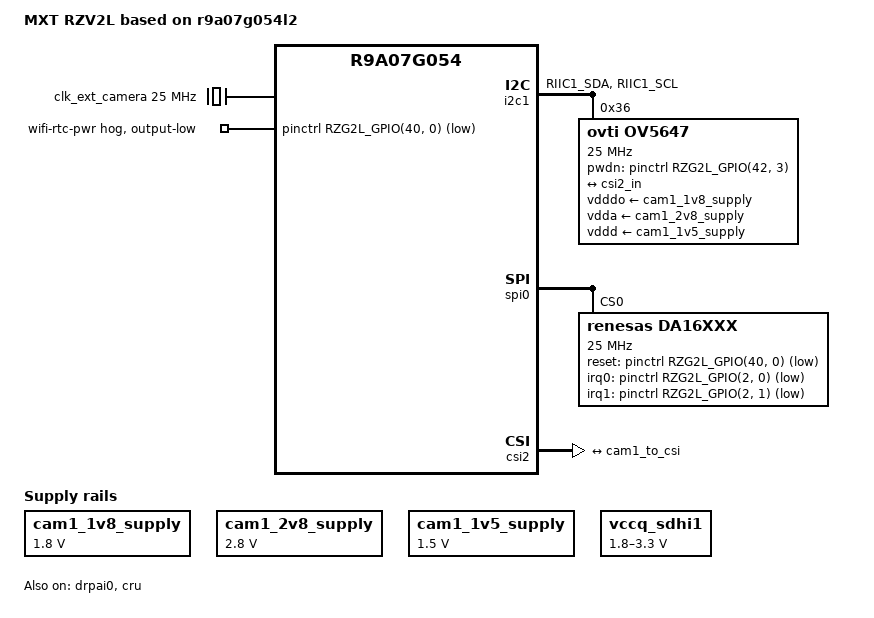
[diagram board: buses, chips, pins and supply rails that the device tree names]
// SPDX-License-Identifier: (GPL-2.0-only OR BSD-2-Clause)
/*
 * Device Tree Source for the RZ/G2L SMARC EVK board
 *
 * Copyright (C) 2021 Renesas Electronics Corp.
 */

/dts-v1/;
#include "r9a07g054l2.dtsi"
#include "rzg2l-smarc-som.dtsi"
#include "rzg2l-smarc-pinfunction.dtsi"
#include "rz-smarc-common.dtsi"
#include "rzg2l-smarc.dtsi"

/ {
	model = "MXT RZV2L based on r9a07g054l2";
	compatible = "renesas,smarc-evk", "renesas,r9a07g054l2", "renesas,r9a07g054";

	reserved-memory {
		#address-cells = <2>;
		#size-cells = <2>;
		ranges;

		/* device specific region for contiguous allocations */
		drp_reserved: DRP-AI {
			reusable;
			reg = <0x0 0x80000000 0x0 0x20000000>;
		};

		image_buf0: image_buf@0 {
			compatible = "shared-dma-pool";
			reusable;
			reg = <0x0 0xB0000000 0x0 0x04000000>;
			label = "image_buf0";
		};

		isp_work0: SIMPLE_ISP {
			reusable;
			reg = <0x0 0xB4000000 0x0 0x03000000>;
		};
	};

	udmabuf@0 {
		compatible = "ikwzm,u-dma-buf";
		device-name = "udmabuf0";
		minor-number = <0>;
		size = <0x4000000>; // 64MiB
		dma-coherent;
		memory-region = <&image_buf0>;
	};

	cam1_1v8_supply: 1p8v {
		compatible = "regulator-fixed";
		regulator-name = "cam1_1v8_supply";
		regulator-min-microvolt = <1800000>;
		regulator-max-microvolt = <1800000>;
		regulator-always-on;
	};

	cam1_2v8_supply: 2p8v {
		compatible = "regulator-fixed";
		regulator-name = "cam1_2v8_supply";
		regulator-min-microvolt = <2800000>;
		regulator-max-microvolt = <2800000>;
		regulator-always-on;
	};

	cam1_1v5_supply: 1p5v {
		compatible = "regulator-fixed";
		regulator-name = "cam1_1v5_supply";
		regulator-min-microvolt = <1500000>;
		regulator-max-microvolt = <1500000>;
		regulator-always-on;
	};

	/delete-node/ sound;
	/delete-node/ sound_card;
	/delete-node/ hdmi-out;
};

&drpai0 {
	memory-region = <&drp_reserved>;
	linux-memory-region = < &{/memory@48000000} >; 
	status = "okay";
};

&adc {
	status = "disabled";
};

&clk_ext_camera {
	compatible = "fixed-clock";
	#clock-cells = <0>;
	clock-frequency = <25000000>;
};

&canfd {
	status = "disabled";
};

&gpt4 {
	status = "disabled";
};

&i2c0 {
	status = "disabled";
	/delete-node/ camera@3c;
};

&i2c1 {
	pinctrl-0 = <&i2c1_pins>;
	pinctrl-names = "default";

	status = "okay";

	ov5647: camera@36 {
		compatible = "ovti,ov5647";
		reg = <0x36>;
		clock-names = "xclk";
		clocks = <&clk_ext_camera>;
		clock-frequency = <25000000>;
		vdddo-supply = <&cam1_1v8_supply>;
		vdda-supply = <&cam1_2v8_supply>;
		vddd-supply = <&cam1_1v5_supply>;
		pwdn-gpios = <&pinctrl RZG2L_GPIO(42, 3) GPIO_ACTIVE_HIGH>;

		port {
			cam1_to_csi: endpoint {
				clock-lanes = <0>;
				data-lanes = <1 2>;
				remote-endpoint = <&csi2_in>;
			};
		};
	};

	adv7535: hdmi@3d {
		status = "disabled";

		ports {
			#address-cells = <1>;
			#size-cells = <0>;

			port@0 {
				/delete-node/ endpoint@0;
			};
			port@1 {
				/delete-node/ endpoint@1;
			};
			port@2 {
				/delete-node/ endpoint@2;
			};
		};
	};
};

&i2c3 {
	status = "disabled";
	/delete-node/ codec@1a;
};

&vccq_sdhi1 {
	compatible = "regulator-gpio";
	regulator-name = "SDHI1 VccQ";
	regulator-min-microvolt = <1800000>;
	regulator-max-microvolt = <3300000>;
	gpios = <&pinctrl RZG2L_GPIO(43, 3) GPIO_ACTIVE_HIGH>;
	gpios-states = <1>;
	states = <3300000 1>, <1800000 0>;
};

&eth0 {
	status = "disabled";
};

&eth1 {
	status = "disabled";
};

&spi0 {
	pinctrl-0 = <&spi0_pins>;
	pinctrl-names = "default";
	dmas = <&dmac 0x2e95>, <&dmac 0x2e96>;
	dma-names = "tx", "rx";

	status = "okay";

	da16xxx@0 {
		compatible = "renesas,da16xxx";
		reg = <0>;
		spi-max-frequency = <25000000>;
		reset-gpios = <&pinctrl RZG2L_GPIO(40, 0) GPIO_ACTIVE_LOW>;
		irq0-gpios = <&pinctrl RZG2L_GPIO(2, 0) GPIO_ACTIVE_LOW>;
		irq1-gpios = <&pinctrl RZG2L_GPIO(2, 1) GPIO_ACTIVE_LOW>;
	};
};

&spi1 {
	status = "disabled";
};

&ssi1 {
	status = "disabled";
};

&du {
	status = "disabled";
};

&dsi0 {
	status = "disabled";

	ports {
		port@1 {
			/delete-node/ endpoint;
		};
	};
};

&cru {
	status = "okay";
};

&csi2 {
	status = "okay";

	ports {
		port {
			csi2_in: endpoint {
				clock-lanes = <0>;
				data-lanes = <1 2>;
				remote-endpoint = <&cam1_to_csi>;
			};
		};
	};
};

&pinctrl {
	pinctrl-0 = <&sound_clk_pins>;
	pinctrl-names = "default";

	/delete-node/ can1-stb-hog;
	/delete-node/ gpio-sd0-pwr-en-hog;
	/delete-node/ sd0-dev-sel-hog;
	/delete-node/ sd1-pwr-en-hog;

	i2c0_pins: i2c0 {
		pins = "RIIC0_SDA", "RIIC0_SCL";
		input-enable;
	};

	i2c1_pins: i2c1 {
		pins = "RIIC1_SDA", "RIIC1_SCL";
		input-enable;
	};

	i2c3_pins: i2c3 {
		pinmux = <RZG2L_PORT_PINMUX(18, 0, 3)>, /* SDA */
			 <RZG2L_PORT_PINMUX(18, 1, 3)>; /* SCL */
	};

	scif0_pins: scif0 {
		pinmux = <RZG2L_PORT_PINMUX(38, 0, 1)>,	/* TxD */
			 <RZG2L_PORT_PINMUX(38, 1, 1)>;	/* RxD */
	};

	scif2_pins: scif2 {
		pinmux = <RZG2L_PORT_PINMUX(48, 0, 1)>, /* TxD */
			 <RZG2L_PORT_PINMUX(48, 1, 1)>, /* RxD */
			 <RZG2L_PORT_PINMUX(48, 3, 1)>, /* CTS# */
			 <RZG2L_PORT_PINMUX(48, 4, 1)>; /* RTS# */
	};

	sdhi1_pins: sd1 {
		sd1_data {
			pins = "SD1_DATA0", "SD1_DATA1", "SD1_DATA2", "SD1_DATA3";
			power-source = <3300>;
		};

		sd1_ctrl {
			pins = "SD1_CLK", "SD1_CMD";
			power-source = <3300>;
		};
	};

	sdhi1_pins_uhs: sd1_uhs {
		sd1_data_uhs {
			pins = "SD1_DATA0", "SD1_DATA1", "SD1_DATA2", "SD1_DATA3";
			power-source = <1800>;
		};

		sd1_ctrl_uhs {
			pins = "SD1_CLK", "SD1_CMD";
			power-source = <1800>;
		};
	};

	sound_clk_pins: sound_clk {
		pins = "AUDIO_CLK1", "AUDIO_CLK2";
		input-enable;
	};

	spi0_pins: spi0 {
		pinmux = <RZG2L_PORT_PINMUX(47, 0, 5)>, /* CK */
			 <RZG2L_PORT_PINMUX(47, 1, 5)>, /* MOSI */
			 <RZG2L_PORT_PINMUX(47, 2, 5)>, /* MISO */
			 <RZG2L_PORT_PINMUX(47, 3, 5)>; /* SSL */
	};

	spi1_pins: spi1 {
		pinmux = <RZG2L_PORT_PINMUX(44, 0, 1)>, /* CK */
			 <RZG2L_PORT_PINMUX(44, 1, 1)>, /* MOSI */
			 <RZG2L_PORT_PINMUX(44, 2, 1)>, /* MISO */
			 <RZG2L_PORT_PINMUX(44, 3, 1)>; /* SSL */
	};

	ssi0_pins: ssi0 {
		pinmux = <RZG2L_PORT_PINMUX(45, 0, 1)>, /* BCK */
			 <RZG2L_PORT_PINMUX(45, 1, 1)>, /* RCK */
			 <RZG2L_PORT_PINMUX(45, 2, 1)>, /* TXD */
			 <RZG2L_PORT_PINMUX(45, 3, 1)>; /* RXD */
	};

	ssi1_pins: ssi1 {
		pinmux = <RZG2L_PORT_PINMUX(46, 0, 1)>, /* BCK */
			 <RZG2L_PORT_PINMUX(46, 1, 1)>, /* RCK */
			 <RZG2L_PORT_PINMUX(46, 2, 1)>, /* TXD */
			 <RZG2L_PORT_PINMUX(46, 3, 1)>; /* RXD */
	};

	usb0_pins: usb0 {
		pinmux = <RZG2L_PORT_PINMUX(4, 0, 1)>, /* VBUS */
			 <RZG2L_PORT_PINMUX(5, 0, 1)>, /* OVC */
			 <RZG2L_PORT_PINMUX(5, 1, 1)>; /* OTG_ID */
	};

	usb1_pins: usb1 {
		pinmux = <RZG2L_PORT_PINMUX(42, 0, 1)>, /* VBUS */
			 <RZG2L_PORT_PINMUX(42, 1, 1)>; /* OVC */
	};

	wifi-rtc-pwr{
		gpio-hog;
		gpios = <RZG2L_GPIO(40, 0) GPIO_ACTIVE_LOW>;
		output-low;
		line-name = "wifi-rtc-pwr";
	};
};
